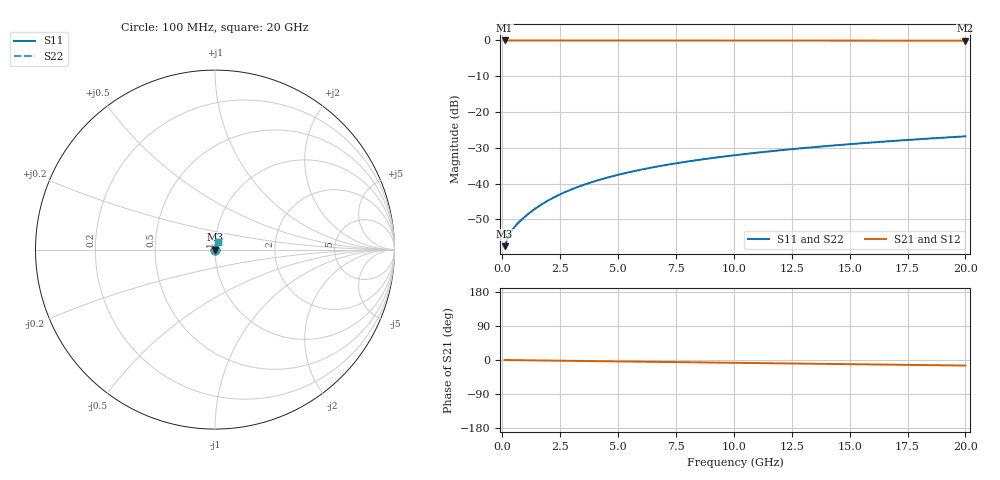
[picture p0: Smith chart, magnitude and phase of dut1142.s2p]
! Touchstone file exported from HFSS 2026.1.0
!  File:  C:/ffzhzh/LocalFiles/Ansys_Project_Files/temp_train_BSMRDL_1142_1783175477_18472.aedt
!  Generated:  10:32:25 PM Jul  4, 2026
!  Design:  BSMRDL
!  Project:  temp_train_BSMRDL_1142_1783175477_18472
! Variables:
!  h_bsmrdl = 3.23um
!  h_ox = 20um
!  h_rdl = 5um
!  h_sub = 80um
!  h_tmrdl = 5um
!  h_tsv = 80um
!  h_via = 3um
!  l_bsmrdl = 238.85um
!  l_sub = 638.85um
!  l_tmrdl = 200um
!  m_sub = 200um
!  pitch = 34.34um
!  r_tsv = 6um
!  s_tmrdl = 10um
!  w_bsmrdl = 27.54um
!  w_sub = 500um
!  w_tmrdl = 12um
!  x_tsv_center1 = 206um
!  x_tsv_center2 = 472.39um
!  x_tsv_center3 = 684.39um
!  x_tsv_center4 = 950.78um
!  x_tsv_center5 = 1162.78um
!  x_tsv_center6 = 1429.17um
# GHz S MA R 50.000000
! Terminal data exported
! Port[1] = BSM_RDL1_1_T1
! Port[2] = BSM_RDL1_1_T2
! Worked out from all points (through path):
!   200 points, 100 MHz to 20 GHz, reference 50 ohm
!   highest |S21| = -0.01 dB at 100 MHz (marker M1); lowest = -0.1 dB at 20 GHz (marker M2)
!   group delay of S21, straight-line fit = 2.03 ps
!   lowest |S11| = -57.5 dB at 100 MHz (marker M3), VSWR 1.00, Z = 50.1 + j0.0456 ohm
!   |S11| at or under -10 dB: start of sweep to end of sweep
!   |S22| runs from -57.5 to -26.8 dB; largest |S21 - S12| = 3.1e-15
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0.1  0.001331 20.0  0.9987 -0.1  0.9987 -0.1  0.001331 20.0
! Gamma 0 0 0 0
! Port Impedance 50 0 50 0
0.2  0.001611 31.6  0.9986 -0.2  0.9986 -0.2  0.001611 31.6
0.3  0.001902 37.7  0.9985 -0.2  0.9985 -0.2  0.001902 37.7
0.4  0.002164 41.6  0.9984 -0.3  0.9984 -0.3  0.002164 41.6
0.5  0.0024 44.7  0.9983 -0.4  0.9983 -0.4  0.0024 44.7
0.6  0.002621 47.3  0.9982 -0.5  0.9982 -0.5  0.002621 47.3
0.8  0.003051 52.0  0.9981 -0.6  0.9981 -0.6  0.003051 52.0
1.2  0.003935 59.2  0.998 -0.9  0.998 -0.9  0.003935 59.2
1.7  0.005108 64.9  0.9979 -1.3  0.9979 -1.3  0.005108 64.9
2.2  0.006324 68.4  0.9978 -1.7  0.9978 -1.7  0.006324 68.4
2.8  0.007808 70.8  0.9977 -2.1  0.9977 -2.1  0.007808 70.8
3.5  0.009546 72.4  0.9975 -2.6  0.9975 -2.6  0.009546 72.4
4.2  0.01128 73.2  0.9973 -3.2  0.9973 -3.2  0.01127 73.2
5  0.01323 73.7  0.997 -3.7  0.997 -3.7  0.01323 73.7
5.9  0.0154 73.7  0.9967 -4.4  0.9967 -4.4  0.01539 73.8
6.8  0.01752 73.6  0.9964 -5.1  0.9964 -5.1  0.01752 73.6
8.3  0.02098 73.1  0.9959 -6.2  0.9959 -6.2  0.02098 73.1
10.1  0.02501 72.3  0.9952 -7.5  0.9952 -7.5  0.025 72.3
11.7  0.02849 71.4  0.9947 -8.7  0.9947 -8.7  0.02849 71.5
13.4  0.03211 70.6  0.9942 -9.9  0.9942 -9.9  0.03211 70.6
16.7  0.03898 68.8  0.9932 -12.3  0.9932 -12.3  0.03897 68.8
20  0.04566 66.9  0.9922 -14.6  0.9922 -14.6  0.04566 67.0
